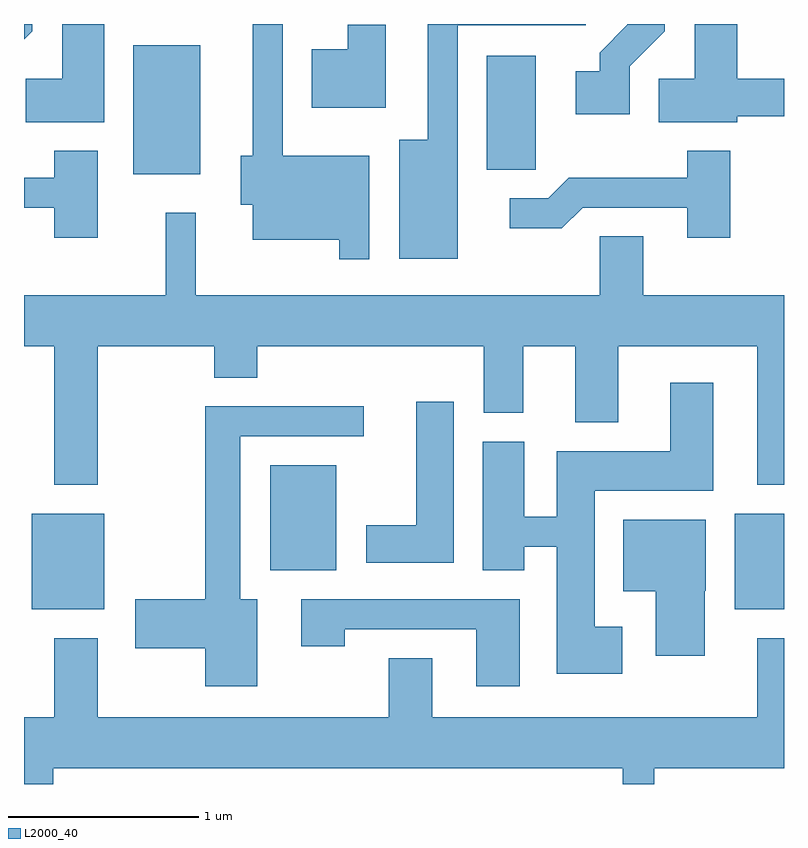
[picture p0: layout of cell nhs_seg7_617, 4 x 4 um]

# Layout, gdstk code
import gdstk
lib = gdstk.Library(unit=1e-6, precision=1e-09)
def R(c, l, rs):  # rectangles x0, y0, x1, y1
    for r in rs: c.add(gdstk.rectangle(r[:2], r[2:], *l))
def P(c, l, *ps):  # polygons
    for p in ps: c.add(gdstk.Polygon(p, *l))
L2000_40 = (2000, 40)

nhs_seg7_617 = lib.new_cell('nhs_seg7_617')
R(nhs_seg7_617, L2000_40, [(203.651,1695.171,204.034,1695.674), (207.351,1695.171,207.611,1695.674), (204.906,1695.376,205.254,1695.929), (204.186,1697.461,204.539,1698.139), (206.046,1697.486,206.304,1698.084)])
P(nhs_seg7_617, L2000_40, [(207.364,1697.766),(207.611,1697.766),(207.611,1697.964),(207.364,1697.964),(207.364,1698.252),(207.141,1698.252),(207.141,1697.964),(206.951,1697.964),(206.951,1697.736),(207.364,1697.736)],
  [(203.654,1698.214),(203.654,1698.252),(203.611,1698.252),(203.611,1698.171)],
  [(205.429,1697.559),(204.974,1697.559),(204.974,1698.252),(204.816,1698.252),(204.816,1697.559),(204.751,1697.559),(204.751,1697.301),(204.816,1697.301),(204.816,1697.116),(205.271,1697.116),(205.271,1697.013),(205.429,1697.013)],
  [(204.034,1698.252),(203.811,1698.252),(203.811,1697.964),(203.621,1697.964),(203.621,1697.736),(204.034,1697.736)],
  [(205.894,1698.246),(206.568,1698.246),(206.568,1698.252),(205.736,1698.252),(205.736,1697.644),(205.586,1697.644),(205.586,1697.016),(205.894,1697.016)],
  [(206.799,1698.029),(206.984,1698.214),(206.984,1698.252),(206.786,1698.252),(206.786,1698.247),(206.641,1698.102),(206.641,1698.004),(206.516,1698.004),(206.516,1697.776),(206.799,1697.776)],
  [(205.514,1698.249),(205.316,1698.249),(205.316,1698.119),(205.126,1698.119),(205.126,1697.811),(205.514,1697.811)],
  [(203.999,1697.584),(203.771,1697.584),(203.771,1697.444),(203.611,1697.444),(203.611,1697.286),(203.771,1697.286),(203.771,1697.126),(203.999,1697.126)],
  [(207.329,1697.584),(207.101,1697.584),(207.101,1697.444),(206.479,1697.444),(206.369,1697.334),(206.168,1697.334),(206.168,1697.176),(206.442,1697.176),(206.552,1697.286),(207.101,1697.286),(207.101,1697.126),(207.329,1697.126)],
  [(203.999,1696.556),(204.611,1696.556),(204.611,1696.391),(204.839,1696.391),(204.839,1696.556),(206.031,1696.556),(206.031,1696.206),(206.239,1696.206),(206.239,1696.556),(206.511,1696.556),(206.511,1696.156),(206.739,1696.156),(206.739,1696.556),(207.471,1696.556),(207.471,1695.826),(207.611,1695.826),(207.611,1696.824),(206.869,1696.824),(206.869,1697.134),(206.641,1697.134),(206.641,1696.824),(204.514,1696.824),(204.514,1697.258),(204.356,1697.258),(204.356,1696.824),(203.611,1696.824),(203.611,1696.556),(203.771,1696.556),(203.771,1695.826),(203.999,1695.826)],
  [(206.759,1695.079),(206.614,1695.079),(206.614,1695.796),(207.239,1695.796),(207.239,1696.364),(207.011,1696.364),(207.011,1696.004),(206.416,1696.004),(206.416,1695.659),(206.244,1695.659),(206.244,1696.054),(206.026,1696.054),(206.026,1695.376),(206.244,1695.376),(206.244,1695.501),(206.416,1695.501),(206.416,1694.831),(206.759,1694.831)],
  [(205.874,1696.264),(205.676,1696.264),(205.676,1695.614),(205.411,1695.614),(205.411,1695.416),(205.874,1695.416)],
  [(204.839,1695.224),(204.749,1695.224),(204.749,1696.081),(205.398,1696.081),(205.398,1696.239),(204.566,1696.239),(204.566,1695.224),(204.196,1695.224),(204.196,1694.966),(204.566,1694.966),(204.566,1694.766),(204.839,1694.766)],
  [(207.194,1695.27),(207.199,1695.27),(207.199,1695.644),(206.766,1695.644),(206.766,1695.266),(206.936,1695.266),(206.936,1694.926),(207.194,1694.926)],
  [(206.219,1695.224),(205.071,1695.224),(205.071,1694.976),(205.299,1694.976),(205.299,1695.066),(205.991,1695.066),(205.991,1694.766),(206.219,1694.766)],
  [(203.764,1694.336),(206.761,1694.336),(206.761,1694.252),(206.929,1694.252),(206.929,1694.336),(207.611,1694.336),(207.611,1695.019),(207.471,1695.019),(207.471,1694.604),(205.759,1694.604),(205.759,1694.914),(205.531,1694.914),(205.531,1694.604),(203.999,1694.604),(203.999,1695.019),(203.771,1695.019),(203.771,1694.604),(203.611,1694.604),(203.611,1694.252),(203.764,1694.252)])

lib.write_gds('nhs_seg7_617.gds')
